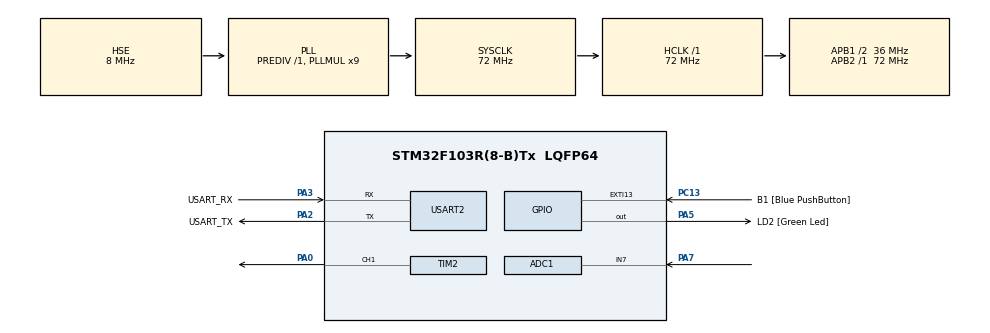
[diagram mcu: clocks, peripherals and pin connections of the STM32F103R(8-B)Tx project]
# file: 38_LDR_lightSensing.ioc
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ADC1.Channel-0\#ChannelRegularConversion=ADC_CHANNEL_7
ADC1.ContinuousConvMode=DISABLE
ADC1.NbrOfConversionFlag=1
ADC1.Rank-0\#ChannelRegularConversion=1
ADC1.SamplingTime-0\#ChannelRegularConversion=ADC_SAMPLETIME_1CYCLE_5
ADC1.master=1
Mcu.Family=STM32F1
Mcu.Name=STM32F103R(8-B)Tx
Mcu.Package=LQFP64
NVIC.EXTI15_10_IRQn=true\:0\:0\:false\:false\:true\:true\:true\:true
NVIC.PriorityGroup=NVIC_PRIORITYGROUP_4
PA0-WKUP.Signal=S_TIM2_CH1_ETR
PA13.GPIO_Label=TMS
PA13.Mode=Serial_Wire
PA13.Signal=SYS_JTMS-SWDIO
PA14.GPIO_Label=TCK
PA14.Mode=Serial_Wire
PA14.Signal=SYS_JTCK-SWCLK
PA2.GPIO_Label=USART_TX
PA2.GPIO_Mode=GPIO_MODE_AF_PP
PA2.GPIO_PuPd=GPIO_NOPULL
PA2.GPIO_Speed=GPIO_SPEED_FREQ_LOW
PA2.Mode=Asynchronous
PA2.Signal=USART2_TX
PA3.GPIO_Label=USART_RX
PA3.GPIO_Mode=GPIO_MODE_AF_PP
PA3.GPIO_PuPd=GPIO_NOPULL
PA3.GPIO_Speed=GPIO_SPEED_FREQ_LOW
PA3.Mode=Asynchronous
PA3.Signal=USART2_RX
PA5.GPIO_Label=LD2 [Green Led]
PA5.GPIO_ModeDefaultOutputPP=GPIO_MODE_OUTPUT_PP
PA5.GPIO_PuPd=GPIO_NOPULL
PA5.GPIO_Speed=GPIO_SPEED_FREQ_LOW
PA5.Signal=GPIO_Output
PA7.Signal=ADCx_IN7
PB3.GPIO_Label=SWO
PB3.Signal=SYS_JTDO-TRACESWO
PC13-TAMPER-RTC.GPIO_Label=B1 [Blue PushButton]
PC13-TAMPER-RTC.GPIO_PuPd=GPIO_NOPULL
PC13-TAMPER-RTC.Signal=GPXTI13
PC14-OSC32_IN.Mode=LSE-External-Oscillator
PC14-OSC32_IN.Signal=RCC_OSC32_IN
PC15-OSC32_OUT.Mode=LSE-External-Oscillator
PC15-OSC32_OUT.Signal=RCC_OSC32_OUT
PD0-OSC_IN.Mode=HSE-External-Oscillator
PD0-OSC_IN.Signal=RCC_OSC_IN
PD1-OSC_OUT.Mode=HSE-External-Oscillator
PD1-OSC_OUT.Signal=RCC_OSC_OUT
ProjectManager.HeapSize=0x200
ProjectManager.StackSize=0x400
ProjectManager.TargetToolchain=CMake
RCC.ADCPresc=RCC_ADCPCLK2_DIV6
RCC.AHBFreq_Value=72000000
RCC.APB1CLKDivider=RCC_HCLK_DIV2
RCC.APB1Freq_Value=36000000
RCC.APB1TimFreq_Value=72000000
RCC.APB2Freq_Value=72000000
RCC.APB2TimFreq_Value=72000000
RCC.HCLKFreq_Value=72000000
RCC.PLLMUL=RCC_PLL_MUL9
RCC.PLLSourceVirtual=RCC_PLLSOURCE_HSE
RCC.RTCClockSelection=RCC_RTCCLKSOURCE_LSE
RCC.SYSCLKFreq_VALUE=72000000
RCC.SYSCLKSource=RCC_SYSCLKSOURCE_PLLCLK
RCC.USBFreq_Value=72000000
SH.ADCx_IN7.0=ADC1_IN7,IN7
SH.S_TIM2_CH1_ETR.0=TIM2_CH1,PWM Generation1 CH1
TIM2.AutoReloadPreload=TIM_AUTORELOAD_PRELOAD_ENABLE
TIM2.Channel-PWM\ Generation1\ CH1=TIM_CHANNEL_1
USART2.VirtualMode=VM_ASYNC
VP_TIM2_VS_ClockSourceINT.Mode=Internal
board=NUCLEO-F103RB

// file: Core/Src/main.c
/* USER CODE BEGIN Header */
/**
  ******************************************************************************
  * @file           : main.c
  * @brief          : Main program body
  ******************************************************************************
  * @attention
  *
  * Copyright (c) 2025 STMicroelectronics.
  * All rights reserved.
  *
  * This software is licensed under terms that can be found in the LICENSE file
  * in the root directory of this software component.
  * If no LICENSE file comes with this software, it is provided AS-IS.
  *
  ******************************************************************************
  */
/* USER CODE END Header */
#include "main.h"
#include "adc.h"
#include "tim.h"
#include "usart.h"
#include "gpio.h"

/* USER CODE BEGIN Includes */

#include <stdio.h>

/* USER CODE END Includes */

void SystemClock_Config(void);

int main(void)
{

  /* USER CODE BEGIN 1 */

  uint16_t AD_RES = 0, Vamb = 0, DC_Multiplier = 0, DutyCycle = 0;
  char MSG[30] ={'\0'};

  /* USER CODE END 1 */

  /* MCU Configuration--------------------------------------------------------*/

  /* Reset of all peripherals, Initializes the Flash interface and the Systick. */
  HAL_Init();

  /* Configure the system clock */
  SystemClock_Config();

  /* Initialize all configured peripherals */
  MX_GPIO_Init();
  MX_ADC1_Init();
  MX_TIM2_Init();
  MX_USART2_UART_Init();
  /* USER CODE BEGIN 2 */

  HAL_TIM_PWM_Start(&htim2, TIM_CHANNEL_1);
  HAL_ADCEx_Calibration_Start(&hadc1);

  HAL_ADC_Start(&hadc1);
  HAL_ADC_PollForConversion(&hadc1, 1);

  Vamb = HAL_ADC_GetValue(&hadc1);
  DC_Multiplier = 65535 / (4095 - Vamb);

  /* USER CODE END 2 */

  /* Infinite loop */
  /* USER CODE BEGIN WHILE */
  while (1)
  {
    HAL_ADC_Start(&hadc1);
    HAL_ADC_PollForConversion(&hadc1, 1);

    AD_RES = HAL_ADC_GetValue(&hadc1);

    //IF there is more light than during start = calibration, set measured value to base Calibrated ambiance -> dutycycle will be 0
    //Otherwise calculate 4095(ADC) into 65535(DutyCycle), with ambiance subtracted to make it more responsive in low light
    if(AD_RES < Vamb)
    {
      AD_RES = Vamb;
    }
    DutyCycle = (AD_RES - Vamb) * DC_Multiplier;
    TIM2->CCR1 = DutyCycle;

    sprintf(MSG, "%d, %d, %d, %d\r\n", Vamb, DC_Multiplier, AD_RES, DutyCycle);
    HAL_UART_Transmit(&huart2, (uint8_t*)MSG, sizeof(MSG), 100);

    HAL_Delay(200);

    /* USER CODE END WHILE */

  }
}

void SystemClock_Config(void)
{
  RCC_OscInitTypeDef RCC_OscInitStruct = {0};
  RCC_ClkInitTypeDef RCC_ClkInitStruct = {0};
  RCC_PeriphCLKInitTypeDef PeriphClkInit = {0};

  /** Initializes the RCC Oscillators according to the specified parameters
  * in the RCC_OscInitTypeDef structure.
  */
  RCC_OscInitStruct.OscillatorType = RCC_OSCILLATORTYPE_HSE;
  RCC_OscInitStruct.HSEState = RCC_HSE_ON;
  RCC_OscInitStruct.HSEPredivValue = RCC_HSE_PREDIV_DIV1;
  RCC_OscInitStruct.HSIState = RCC_HSI_ON;
  RCC_OscInitStruct.PLL.PLLState = RCC_PLL_ON;
  RCC_OscInitStruct.PLL.PLLSource = RCC_PLLSOURCE_HSE;
  RCC_OscInitStruct.PLL.PLLMUL = RCC_PLL_MUL9;
  if (HAL_RCC_OscConfig(&RCC_OscInitStruct) != HAL_OK)
  {
    Error_Handler();
  }

  /** Initializes the CPU, AHB and APB buses clocks
  */
  RCC_ClkInitStruct.ClockType = RCC_CLOCKTYPE_HCLK|RCC_CLOCKTYPE_SYSCLK
                              |RCC_CLOCKTYPE_PCLK1|RCC_CLOCKTYPE_PCLK2;
  RCC_ClkInitStruct.SYSCLKSource = RCC_SYSCLKSOURCE_PLLCLK;
  RCC_ClkInitStruct.AHBCLKDivider = RCC_SYSCLK_DIV1;
  RCC_ClkInitStruct.APB1CLKDivider = RCC_HCLK_DIV2;
  RCC_ClkInitStruct.APB2CLKDivider = RCC_HCLK_DIV1;

  if (HAL_RCC_ClockConfig(&RCC_ClkInitStruct, FLASH_LATENCY_2) != HAL_OK)
  {
    Error_Handler();
  }
  PeriphClkInit.PeriphClockSelection = RCC_PERIPHCLK_ADC;
  PeriphClkInit.AdcClockSelection = RCC_ADCPCLK2_DIV6;
  if (HAL_RCCEx_PeriphCLKConfig(&PeriphClkInit) != HAL_OK)
  {
    Error_Handler();
  }
}

void Error_Handler(void)
{
  __disable_irq();
  while (1)
  {
  }
}
